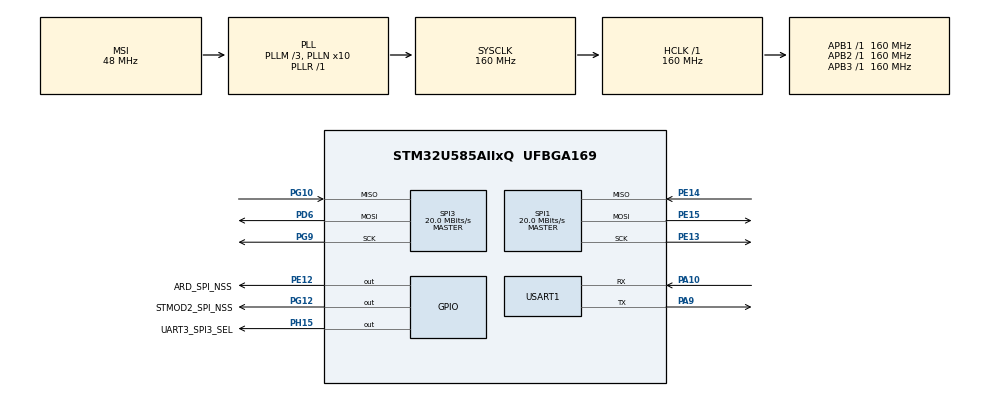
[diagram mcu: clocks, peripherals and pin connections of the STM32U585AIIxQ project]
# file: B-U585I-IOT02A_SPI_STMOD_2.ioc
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CORTEX_M33_NS.userName=CORTEX_M33
Mcu.Family=STM32U5
Mcu.Name=STM32U585AIIxQ
Mcu.Package=UFBGA169
Mcu.UserConstants=CONSOLE_UART,$$_USART1_IP_HANDLE_$$;STMOD2_SPI,$$_SPI3_IP_HANDLE_$$;ARD_SPI,$$_SPI1_IP_HANDLE_$$
NVIC.PriorityGroup=NVIC_PRIORITYGROUP_4
NVIC.SPI3_IRQn=true\:0\:0\:false\:false\:true\:true\:true\:true
NVIC.USART1_IRQn=true\:0\:0\:false\:false\:true\:true\:true\:true
PA10.Mode=Asynchronous
PA10.Signal=USART1_RX
PA9.Mode=Asynchronous
PA9.Signal=USART1_TX
PD6.Mode=Full_Duplex_Master
PD6.Signal=SPI3_MOSI
PD8.Signal=USART3_TX
PD9.Signal=USART3_RX
PE12.GPIO_Label=ARD_SPI_NSS
PE12.Signal=GPIO_Output
PE13.Mode=Full_Duplex_Master
PE13.Signal=SPI1_SCK
PE14.Mode=Full_Duplex_Master
PE14.Signal=SPI1_MISO
PE15.Mode=Full_Duplex_Master
PE15.Signal=SPI1_MOSI
PG10.Mode=Full_Duplex_Master
PG10.Signal=SPI3_MISO
PG12.GPIO_Label=STMOD2_SPI_NSS
PG12.Signal=GPIO_Output
PG9.Mode=Full_Duplex_Master
PG9.Signal=SPI3_SCK
PH15.GPIO_Label=UART3_SPI3_SEL
PH15.PinState=GPIO_PIN_RESET
PH15.Signal=GPIO_Output
PWR.PowerMode=PWR_SMPS_SUPPLY
ProjectManager.HeapSize=0x200
ProjectManager.StackSize=0x400
ProjectManager.TargetToolchain=STM32CubeIDE
RCC.ADCFreq_Value=16000000
RCC.AHBFreq_Value=160000000
RCC.APB1Freq_Value=160000000
RCC.APB1TimFreq_Value=160000000
RCC.APB2Freq_Value=160000000
RCC.APB2TimFreq_Value=160000000
RCC.APB3Freq_Value=160000000
RCC.CortexFreq_Value=160000000
RCC.DACCLockSelectionVirtual=RCC_DAC1CLKSOURCE_LSI
RCC.EPOD_VALUE=48000000
RCC.HCLKFreq_Value=160000000
RCC.HSE_VALUE=16000000
RCC.HSI48_VALUE=48000000
RCC.HSI_VALUE=16000000
RCC.LSE_VALUE=32768
RCC.LSIDIV_VALUE=32000
RCC.MSIClockRange=RCC_MSIRANGE_0
RCC.MSI_VALUE=48000000
RCC.PLL1R=1
RCC.PLL2FRACN=0
RCC.PLL3FRACN=0
RCC.PLLFRACN=0
RCC.PLLM=3
RCC.PLLN=10
RCC.SYSCLKFreq_VALUE=160000000
RCC.SYSCLKSource=RCC_SYSCLKSOURCE_PLLCLK
RCC.USBFreq_Value=48000000
RCC.VCOOutputFreq_Value=160000000
SPI1.BaudRatePrescaler=SPI_BAUDRATEPRESCALER_8
SPI1.CalculateBaudRate=20.0 MBits/s
SPI1.DataSize=SPI_DATASIZE_8BIT
SPI1.Direction=SPI_DIRECTION_2LINES
SPI1.Mode=SPI_MODE_MASTER
SPI1.NSSPMode=SPI_NSS_PULSE_DISABLE
SPI1.VirtualType=VM_MASTER
SPI3.BaudRatePrescaler=SPI_BAUDRATEPRESCALER_8
SPI3.CalculateBaudRate=20.0 MBits/s
SPI3.Direction=SPI_DIRECTION_2LINES
SPI3.Mode=SPI_MODE_MASTER
SPI3.NSSPMode=SPI_NSS_PULSE_DISABLE
SPI3.VirtualType=VM_MASTER
USART1.VirtualMode-Asynchronous=VM_ASYNC
VP_ICACHE_VS_ICACHE.Mode=DirectMappedCache
VP_LPBAMQUEUE_VS_QUEUE.Mode=QUEUEMODE
VP_LPBAM_VS_SIG1.Mode=SmartRun
VP_LPBAM_VS_SIG4.Mode=LPDMA1
VP_MEMORYMAP_VS_MEMORYMAP.Mode=CurAppReg
VP_PWR_VS_DBSignals.Mode=DisableDeadBatterySignals
VP_PWR_VS_LPOM.Mode=PowerOptimisation
VP_PWR_VS_SECSignals.Mode=Security/Privilege
board=custom

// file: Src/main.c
/* USER CODE BEGIN Header */
/**
  ******************************************************************************
  * @file           : main.c
  * @brief          : Main program body
  ******************************************************************************
  * @attention
  *
  * Copyright (c) 2022 STMicroelectronics.
  * All rights reserved.
  *
  * This software is licensed under terms that can be found in the LICENSE file
  * in the root directory of this software component.
  * If no LICENSE file comes with this software, it is provided AS-IS.
  *
  ******************************************************************************
  */
/* USER CODE END Header */
#include "main.h"

/* USER CODE BEGIN Includes */
#include <string.h>
/* USER CODE END Includes */

SPI_HandleTypeDef hspi1;
SPI_HandleTypeDef hspi3;

UART_HandleTypeDef huart1;

/* USER CODE BEGIN PV */
uint8_t expresslink_data;
uint8_t console_data;
/* USER CODE END PV */

void SystemClock_Config(void);
static void SystemPower_Config(void);
static void MX_GPIO_Init(void);
static void MX_USART1_UART_Init(void);
static void MX_ICACHE_Init(void);
static void MX_SPI3_Init(void);
static void MX_SPI1_Init(void);

/* USER CODE BEGIN 0 */
void HAL_UART_RxCpltCallback(UART_HandleTypeDef *huart)
{
  if(huart->Instance == CONSOLE_UART.Instance)
  {
    HAL_UART_Receive_IT(&CONSOLE_UART    , (uint8_t *)&console_data, 1);
  }
}
/* USER CODE END 0 */

int main(void)
{

  /* MCU Configuration--------------------------------------------------------*/

  /* Reset of all peripherals, Initializes the Flash interface and the Systick. */
  HAL_Init();

  /* Configure the System Power */
  SystemPower_Config();

  /* Configure the system clock */
  SystemClock_Config();

  /* Initialize all configured peripherals */
  MX_GPIO_Init();
  MX_USART1_UART_Init();
  MX_ICACHE_Init();
  MX_SPI3_Init();
  MX_SPI1_Init();
  /* USER CODE BEGIN 2 */
#define tx_data_1 "123456789"
#define DATA_SIZE_1 sizeof(tx_data_1)
  uint8_t rx_data_1[DATA_SIZE_1] = {0};

#define tx_data_2 "hello world"
#define DATA_SIZE_2 sizeof(tx_data_2)
  uint8_t rx_data_2[DATA_SIZE_2] = {0};

  /* To use the STMOD+ 2 SPI*/
#if 0
  HAL_GPIO_WritePin      ( STMOD2_SPI_NSS_GPIO_Port, STMOD2_SPI_NSS_Pin, GPIO_PIN_RESET);
  HAL_SPI_Transmit       (&STMOD2_SPI, tx_data_1,DATA_SIZE_1, 0xFFFFFFFF);
  HAL_GPIO_WritePin      ( STMOD2_SPI_NSS_GPIO_Port, STMOD2_SPI_NSS_Pin, GPIO_PIN_SET);

  HAL_GPIO_WritePin      ( STMOD2_SPI_NSS_GPIO_Port, STMOD2_SPI_NSS_Pin, GPIO_PIN_RESET);
  HAL_SPI_Receive        (&STMOD2_SPI, rx_data_1,DATA_SIZE_1, 0xFFFFFFFF);
  HAL_GPIO_WritePin      ( STMOD2_SPI_NSS_GPIO_Port, STMOD2_SPI_NSS_Pin, GPIO_PIN_SET);
#endif

  HAL_GPIO_WritePin      ( STMOD2_SPI_NSS_GPIO_Port, STMOD2_SPI_NSS_Pin, GPIO_PIN_RESET);
  HAL_SPI_TransmitReceive(&STMOD2_SPI, tx_data_1, rx_data_1,DATA_SIZE_1, 0xFFFFFFFF);
  HAL_GPIO_WritePin      ( STMOD2_SPI_NSS_GPIO_Port, STMOD2_SPI_NSS_Pin, GPIO_PIN_SET);

  /* To use the ARDUINO SPI*/
#if 0
  HAL_GPIO_WritePin      ( ARD_SPI_NSS_GPIO_Port, ARD_SPI_NSS_Pin, GPIO_PIN_RESET);
  HAL_SPI_Transmit       (&ARD_SPI, tx_data_2,DATA_SIZE_2, 0xFFFFFFFF);
  HAL_GPIO_WritePin      ( ARD_SPI_NSS_GPIO_Port, ARD_SPI_NSS_Pin, GPIO_PIN_SET);

  HAL_GPIO_WritePin      ( ARD_SPI_NSS_GPIO_Port, ARD_SPI_NSS_Pin, GPIO_PIN_RESET);
  HAL_SPI_Receive        (&ARD_SPI, rx_data_2,DATA_SIZE_2, 0xFFFFFFFF);
  HAL_GPIO_WritePin      ( ARD_SPI_NSS_GPIO_Port, ARD_SPI_NSS_Pin, GPIO_PIN_SET);
#endif

  HAL_GPIO_WritePin      ( ARD_SPI_NSS_GPIO_Port, ARD_SPI_NSS_Pin, GPIO_PIN_RESET);
  HAL_SPI_TransmitReceive(&ARD_SPI, tx_data_2, rx_data_2,DATA_SIZE_2, 0xFFFFFFFF);
  HAL_GPIO_WritePin      ( ARD_SPI_NSS_GPIO_Port, ARD_SPI_NSS_Pin, GPIO_PIN_SET);

  /* USER CODE END 2 */

  /* Infinite loop */
  while (1)
  {

  }
}

void SystemClock_Config(void)
{
  RCC_OscInitTypeDef RCC_OscInitStruct = {0};
  RCC_ClkInitTypeDef RCC_ClkInitStruct = {0};

  /** Configure the main internal regulator output voltage
  */
  if (HAL_PWREx_ControlVoltageScaling(PWR_REGULATOR_VOLTAGE_SCALE1) != HAL_OK)
  {
    Error_Handler();
  }

  /** Initializes the CPU, AHB and APB buses clocks
  */
  RCC_OscInitStruct.OscillatorType = RCC_OSCILLATORTYPE_MSI;
  RCC_OscInitStruct.MSIState = RCC_MSI_ON;
  RCC_OscInitStruct.MSICalibrationValue = RCC_MSICALIBRATION_DEFAULT;
  RCC_OscInitStruct.MSIClockRange = RCC_MSIRANGE_0;
  RCC_OscInitStruct.PLL.PLLState = RCC_PLL_ON;
  RCC_OscInitStruct.PLL.PLLSource = RCC_PLLSOURCE_MSI;
  RCC_OscInitStruct.PLL.PLLMBOOST = RCC_PLLMBOOST_DIV4;
  RCC_OscInitStruct.PLL.PLLM = 3;
  RCC_OscInitStruct.PLL.PLLN = 10;
  RCC_OscInitStruct.PLL.PLLP = 2;
  RCC_OscInitStruct.PLL.PLLQ = 2;
  RCC_OscInitStruct.PLL.PLLR = 1;
  RCC_OscInitStruct.PLL.PLLRGE = RCC_PLLVCIRANGE_1;
  RCC_OscInitStruct.PLL.PLLFRACN = 0;
  if (HAL_RCC_OscConfig(&RCC_OscInitStruct) != HAL_OK)
  {
    Error_Handler();
  }

  /** Initializes the CPU, AHB and APB buses clocks
  */
  RCC_ClkInitStruct.ClockType = RCC_CLOCKTYPE_HCLK|RCC_CLOCKTYPE_SYSCLK
                              |RCC_CLOCKTYPE_PCLK1|RCC_CLOCKTYPE_PCLK2
                              |RCC_CLOCKTYPE_PCLK3;
  RCC_ClkInitStruct.SYSCLKSource = RCC_SYSCLKSOURCE_PLLCLK;
  RCC_ClkInitStruct.AHBCLKDivider = RCC_SYSCLK_DIV1;
  RCC_ClkInitStruct.APB1CLKDivider = RCC_HCLK_DIV1;
  RCC_ClkInitStruct.APB2CLKDivider = RCC_HCLK_DIV1;
  RCC_ClkInitStruct.APB3CLKDivider = RCC_HCLK_DIV1;

  if (HAL_RCC_ClockConfig(&RCC_ClkInitStruct, FLASH_LATENCY_4) != HAL_OK)
  {
    Error_Handler();
  }
}

/**
  * @brief Power Configuration
  * @retval None
  */
static void SystemPower_Config(void)
{
  HAL_PWREx_EnableVddIO2();

  /*
   * Disable the internal Pull-Up in Dead Battery pins of UCPD peripheral
   */
  HAL_PWREx_DisableUCPDDeadBattery();

  /*
   * Switch to SMPS regulator instead of LDO
   */
  if (HAL_PWREx_ConfigSupply(PWR_SMPS_SUPPLY) != HAL_OK)
  {
    Error_Handler();
  }
}

static void MX_ICACHE_Init(void)
{

  /** Enable instruction cache in 1-way (direct mapped cache)
  */
  if (HAL_ICACHE_ConfigAssociativityMode(ICACHE_1WAY) != HAL_OK)
  {
    Error_Handler();
  }
  if (HAL_ICACHE_Enable() != HAL_OK)
  {
    Error_Handler();
  }

}

static void MX_SPI1_Init(void)
{

  SPI_AutonomousModeConfTypeDef HAL_SPI_AutonomousMode_Cfg_Struct = {0};

  /* SPI1 parameter configuration*/
  hspi1.Instance = SPI1;
  hspi1.Init.Mode = SPI_MODE_MASTER;
  hspi1.Init.Direction = SPI_DIRECTION_2LINES;
  hspi1.Init.DataSize = SPI_DATASIZE_8BIT;
  hspi1.Init.CLKPolarity = SPI_POLARITY_LOW;
  hspi1.Init.CLKPhase = SPI_PHASE_1EDGE;
  hspi1.Init.NSS = SPI_NSS_SOFT;
  hspi1.Init.BaudRatePrescaler = SPI_BAUDRATEPRESCALER_8;
  hspi1.Init.FirstBit = SPI_FIRSTBIT_MSB;
  hspi1.Init.TIMode = SPI_TIMODE_DISABLE;
  hspi1.Init.CRCCalculation = SPI_CRCCALCULATION_DISABLE;
  hspi1.Init.CRCPolynomial = 0x7;
  hspi1.Init.NSSPMode = SPI_NSS_PULSE_DISABLE;
  hspi1.Init.NSSPolarity = SPI_NSS_POLARITY_LOW;
  hspi1.Init.FifoThreshold = SPI_FIFO_THRESHOLD_01DATA;
  hspi1.Init.MasterSSIdleness = SPI_MASTER_SS_IDLENESS_00CYCLE;
  hspi1.Init.MasterInterDataIdleness = SPI_MASTER_INTERDATA_IDLENESS_00CYCLE;
  hspi1.Init.MasterReceiverAutoSusp = SPI_MASTER_RX_AUTOSUSP_DISABLE;
  hspi1.Init.MasterKeepIOState = SPI_MASTER_KEEP_IO_STATE_DISABLE;
  hspi1.Init.IOSwap = SPI_IO_SWAP_DISABLE;
  hspi1.Init.ReadyMasterManagement = SPI_RDY_MASTER_MANAGEMENT_INTERNALLY;
  hspi1.Init.ReadyPolarity = SPI_RDY_POLARITY_HIGH;
  if (HAL_SPI_Init(&hspi1) != HAL_OK)
  {
    Error_Handler();
  }
  HAL_SPI_AutonomousMode_Cfg_Struct.TriggerState = SPI_AUTO_MODE_DISABLE;
  HAL_SPI_AutonomousMode_Cfg_Struct.TriggerSelection = SPI_GRP1_GPDMA_CH0_TCF_TRG;
  HAL_SPI_AutonomousMode_Cfg_Struct.TriggerPolarity = SPI_TRIG_POLARITY_RISING;
  if (HAL_SPIEx_SetConfigAutonomousMode(&hspi1, &HAL_SPI_AutonomousMode_Cfg_Struct) != HAL_OK)
  {
    Error_Handler();
  }

}

static void MX_SPI3_Init(void)
{

  SPI_AutonomousModeConfTypeDef HAL_SPI_AutonomousMode_Cfg_Struct = {0};

  /* SPI3 parameter configuration*/
  hspi3.Instance = SPI3;
  hspi3.Init.Mode = SPI_MODE_MASTER;
  hspi3.Init.Direction = SPI_DIRECTION_2LINES;
  hspi3.Init.DataSize = SPI_DATASIZE_8BIT;
  hspi3.Init.CLKPolarity = SPI_POLARITY_LOW;
  hspi3.Init.CLKPhase = SPI_PHASE_1EDGE;
  hspi3.Init.NSS = SPI_NSS_SOFT;
  hspi3.Init.BaudRatePrescaler = SPI_BAUDRATEPRESCALER_8;
  hspi3.Init.FirstBit = SPI_FIRSTBIT_MSB;
  hspi3.Init.TIMode = SPI_TIMODE_DISABLE;
  hspi3.Init.CRCCalculation = SPI_CRCCALCULATION_DISABLE;
  hspi3.Init.CRCPolynomial = 0x7;
  hspi3.Init.NSSPMode = SPI_NSS_PULSE_DISABLE;
  hspi3.Init.NSSPolarity = SPI_NSS_POLARITY_LOW;
  hspi3.Init.FifoThreshold = SPI_FIFO_THRESHOLD_01DATA;
  hspi3.Init.MasterSSIdleness = SPI_MASTER_SS_IDLENESS_00CYCLE;
  hspi3.Init.MasterInterDataIdleness = SPI_MASTER_INTERDATA_IDLENESS_00CYCLE;
  hspi3.Init.MasterReceiverAutoSusp = SPI_MASTER_RX_AUTOSUSP_DISABLE;
  hspi3.Init.MasterKeepIOState = SPI_MASTER_KEEP_IO_STATE_DISABLE;
  hspi3.Init.IOSwap = SPI_IO_SWAP_DISABLE;
  hspi3.Init.ReadyMasterManagement = SPI_RDY_MASTER_MANAGEMENT_INTERNALLY;
  hspi3.Init.ReadyPolarity = SPI_RDY_POLARITY_HIGH;
  if (HAL_SPI_Init(&hspi3) != HAL_OK)
  {
    Error_Handler();
  }
  HAL_SPI_AutonomousMode_Cfg_Struct.TriggerState = SPI_AUTO_MODE_DISABLE;
  HAL_SPI_AutonomousMode_Cfg_Struct.TriggerSelection = SPI_GRP2_LPDMA_CH0_TCF_TRG;
  HAL_SPI_AutonomousMode_Cfg_Struct.TriggerPolarity = SPI_TRIG_POLARITY_RISING;
  if (HAL_SPIEx_SetConfigAutonomousMode(&hspi3, &HAL_SPI_AutonomousMode_Cfg_Struct) != HAL_OK)
  {
    Error_Handler();
  }

}

static void MX_USART1_UART_Init(void)
{

  huart1.Instance = USART1;
  huart1.Init.BaudRate = 115200;
  huart1.Init.WordLength = UART_WORDLENGTH_8B;
  huart1.Init.StopBits = UART_STOPBITS_1;
  huart1.Init.Parity = UART_PARITY_NONE;
  huart1.Init.Mode = UART_MODE_TX_RX;
  huart1.Init.HwFlowCtl = UART_HWCONTROL_NONE;
  huart1.Init.OverSampling = UART_OVERSAMPLING_16;
  huart1.Init.OneBitSampling = UART_ONE_BIT_SAMPLE_DISABLE;
  huart1.Init.ClockPrescaler = UART_PRESCALER_DIV1;
  huart1.AdvancedInit.AdvFeatureInit = UART_ADVFEATURE_NO_INIT;
  if (HAL_UART_Init(&huart1) != HAL_OK)
  {
    Error_Handler();
  }
  if (HAL_UARTEx_SetTxFifoThreshold(&huart1, UART_TXFIFO_THRESHOLD_1_8) != HAL_OK)
  {
    Error_Handler();
  }
  if (HAL_UARTEx_SetRxFifoThreshold(&huart1, UART_RXFIFO_THRESHOLD_1_8) != HAL_OK)
  {
    Error_Handler();
  }
  if (HAL_UARTEx_DisableFifoMode(&huart1) != HAL_OK)
  {
    Error_Handler();
  }

}

static void MX_GPIO_Init(void)
{
  GPIO_InitTypeDef GPIO_InitStruct = {0};

  /* GPIO Ports Clock Enable */
  __HAL_RCC_GPIOG_CLK_ENABLE();
  __HAL_RCC_GPIOH_CLK_ENABLE();
  __HAL_RCC_GPIOD_CLK_ENABLE();
  __HAL_RCC_GPIOA_CLK_ENABLE();
  __HAL_RCC_GPIOE_CLK_ENABLE();

  /*Configure GPIO pin Output Level */
  HAL_GPIO_WritePin(UART3_SPI3_SEL_GPIO_Port, UART3_SPI3_SEL_Pin, GPIO_PIN_RESET);

  /*Configure GPIO pin Output Level */
  HAL_GPIO_WritePin(STMOD2_SPI_NSS_GPIO_Port, STMOD2_SPI_NSS_Pin, GPIO_PIN_RESET);

  /*Configure GPIO pin Output Level */
  HAL_GPIO_WritePin(ARD_SPI_NSS_GPIO_Port, ARD_SPI_NSS_Pin, GPIO_PIN_RESET);

  /*Configure GPIO pin : UART3_SPI3_SEL_Pin */
  GPIO_InitStruct.Pin = UART3_SPI3_SEL_Pin;
  GPIO_InitStruct.Mode = GPIO_MODE_OUTPUT_PP;
  GPIO_InitStruct.Pull = GPIO_NOPULL;
  GPIO_InitStruct.Speed = GPIO_SPEED_FREQ_LOW;
  HAL_GPIO_Init(UART3_SPI3_SEL_GPIO_Port, &GPIO_InitStruct);

  /*Configure GPIO pin : STMOD2_SPI_NSS_Pin */
  GPIO_InitStruct.Pin = STMOD2_SPI_NSS_Pin;
  GPIO_InitStruct.Mode = GPIO_MODE_OUTPUT_PP;
  GPIO_InitStruct.Pull = GPIO_NOPULL;
  GPIO_InitStruct.Speed = GPIO_SPEED_FREQ_LOW;
  HAL_GPIO_Init(STMOD2_SPI_NSS_GPIO_Port, &GPIO_InitStruct);

  /*Configure GPIO pins : PD8 PD9 */
  GPIO_InitStruct.Pin = GPIO_PIN_8|GPIO_PIN_9;
  GPIO_InitStruct.Mode = GPIO_MODE_AF_PP;
  GPIO_InitStruct.Pull = GPIO_NOPULL;
  GPIO_InitStruct.Speed = GPIO_SPEED_FREQ_LOW;
  GPIO_InitStruct.Alternate = GPIO_AF7_USART3;
  HAL_GPIO_Init(GPIOD, &GPIO_InitStruct);

  /*Configure GPIO pin : ARD_SPI_NSS_Pin */
  GPIO_InitStruct.Pin = ARD_SPI_NSS_Pin;
  GPIO_InitStruct.Mode = GPIO_MODE_OUTPUT_PP;
  GPIO_InitStruct.Pull = GPIO_NOPULL;
  GPIO_InitStruct.Speed = GPIO_SPEED_FREQ_LOW;
  HAL_GPIO_Init(ARD_SPI_NSS_GPIO_Port, &GPIO_InitStruct);

}

void Error_Handler(void)
{
  __disable_irq();
  while (1)
  {
  }
}
